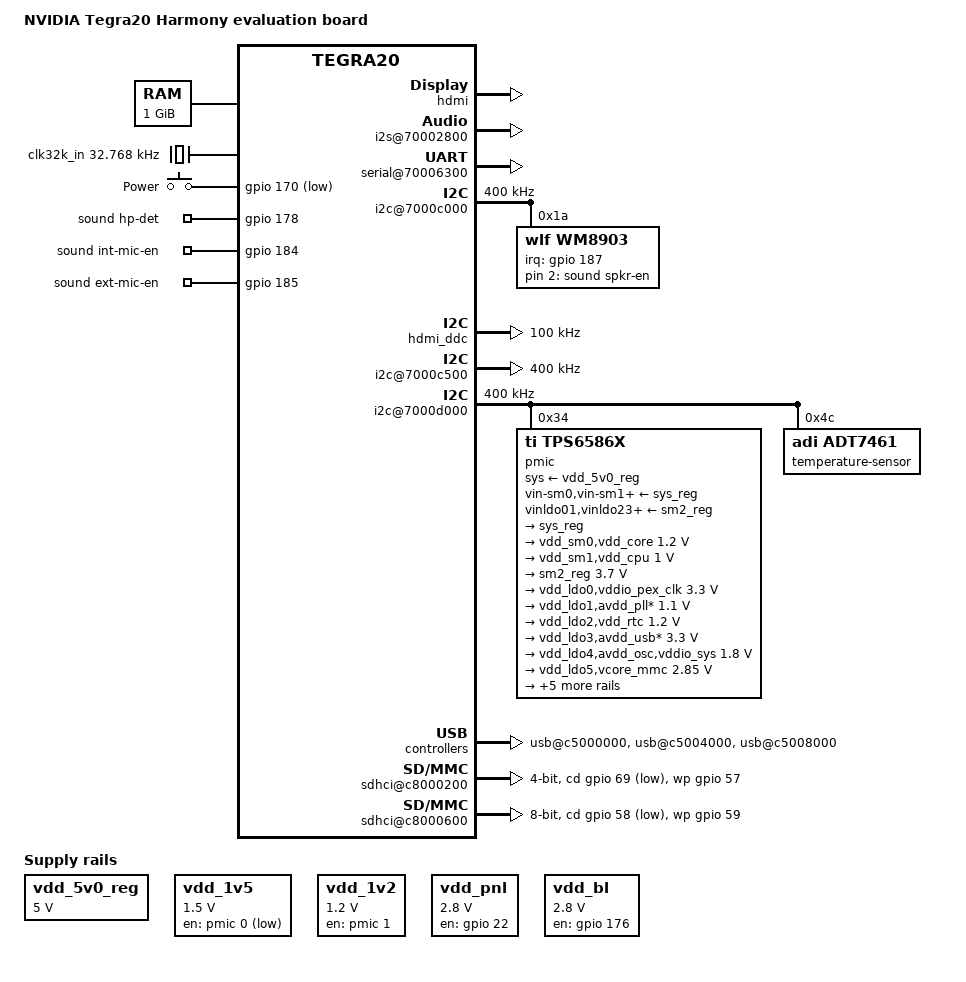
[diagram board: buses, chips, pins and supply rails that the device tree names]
# 1 "arch/arm/boot/dts/tegra20-harmony.dts"
# 1 "<built-in>"
# 1 "<command-line>"
# 1 "arch/arm/boot/dts/tegra20-harmony.dts"
/dts-v1/;

/include/ "tegra20.dtsi"

/ {
 model = "NVIDIA Tegra20 Harmony evaluation board";
 compatible = "nvidia,harmony", "nvidia,tegra20";

 memory {
  reg = <0x00000000 0x40000000>;
 };

 host1x {
  hdmi {
   status = "okay";

   vdd-supply = <&hdmi_vdd_reg>;
   pll-supply = <&hdmi_pll_reg>;

   nvidia,ddc-i2c-bus = <&hdmi_ddc>;
   nvidia,hpd-gpio = <&gpio 111 0>;
  };
 };

 pinmux {
  pinctrl-names = "default";
  pinctrl-0 = <&state_default>;

  state_default: pinmux {
   ata {
    nvidia,pins = "ata";
    nvidia,function = "ide";
   };
   atb {
    nvidia,pins = "atb", "gma", "gme";
    nvidia,function = "sdio4";
   };
   atc {
    nvidia,pins = "atc";
    nvidia,function = "nand";
   };
   atd {
    nvidia,pins = "atd", "ate", "gmb", "gmd", "gpu",
     "spia", "spib", "spic";
    nvidia,function = "gmi";
   };
   cdev1 {
    nvidia,pins = "cdev1";
    nvidia,function = "plla_out";
   };
   cdev2 {
    nvidia,pins = "cdev2";
    nvidia,function = "pllp_out4";
   };
   crtp {
    nvidia,pins = "crtp";
    nvidia,function = "crt";
   };
   csus {
    nvidia,pins = "csus";
    nvidia,function = "vi_sensor_clk";
   };
   dap1 {
    nvidia,pins = "dap1";
    nvidia,function = "dap1";
   };
   dap2 {
    nvidia,pins = "dap2";
    nvidia,function = "dap2";
   };
   dap3 {
    nvidia,pins = "dap3";
    nvidia,function = "dap3";
   };
   dap4 {
    nvidia,pins = "dap4";
    nvidia,function = "dap4";
   };
   ddc {
    nvidia,pins = "ddc";
    nvidia,function = "i2c2";
   };
   dta {
    nvidia,pins = "dta", "dtd";
    nvidia,function = "sdio2";
   };
   dtb {
    nvidia,pins = "dtb", "dtc", "dte";
    nvidia,function = "rsvd1";
   };
   dtf {
    nvidia,pins = "dtf";
    nvidia,function = "i2c3";
   };
   gmc {
    nvidia,pins = "gmc";
    nvidia,function = "uartd";
   };
   gpu7 {
    nvidia,pins = "gpu7";
    nvidia,function = "rtck";
   };
   gpv {
    nvidia,pins = "gpv", "slxa", "slxk";
    nvidia,function = "pcie";
   };
   hdint {
    nvidia,pins = "hdint", "pta";
    nvidia,function = "hdmi";
   };
   i2cp {
    nvidia,pins = "i2cp";
    nvidia,function = "i2cp";
   };
   irrx {
    nvidia,pins = "irrx", "irtx";
    nvidia,function = "uarta";
   };
   kbca {
    nvidia,pins = "kbca", "kbcb", "kbcc", "kbcd",
     "kbce", "kbcf";
    nvidia,function = "kbc";
   };
   lcsn {
    nvidia,pins = "lcsn", "ld0", "ld1", "ld2",
     "ld3", "ld4", "ld5", "ld6", "ld7",
     "ld8", "ld9", "ld10", "ld11", "ld12",
     "ld13", "ld14", "ld15", "ld16", "ld17",
     "ldc", "ldi", "lhp0", "lhp1", "lhp2",
     "lhs", "lm0", "lm1", "lpp", "lpw0",
     "lpw1", "lpw2", "lsc0", "lsc1", "lsck",
     "lsda", "lsdi", "lspi", "lvp0", "lvp1",
     "lvs";
    nvidia,function = "displaya";
   };
   owc {
    nvidia,pins = "owc", "spdi", "spdo", "uac";
    nvidia,function = "rsvd2";
   };
   pmc {
    nvidia,pins = "pmc";
    nvidia,function = "pwr_on";
   };
   rm {
    nvidia,pins = "rm";
    nvidia,function = "i2c1";
   };
   sdb {
    nvidia,pins = "sdb", "sdc", "sdd";
    nvidia,function = "pwm";
   };
   sdio1 {
    nvidia,pins = "sdio1";
    nvidia,function = "sdio1";
   };
   slxc {
    nvidia,pins = "slxc", "slxd";
    nvidia,function = "spdif";
   };
   spid {
    nvidia,pins = "spid", "spie", "spif";
    nvidia,function = "spi1";
   };
   spig {
    nvidia,pins = "spig", "spih";
    nvidia,function = "spi2_alt";
   };
   uaa {
    nvidia,pins = "uaa", "uab", "uda";
    nvidia,function = "ulpi";
   };
   uad {
    nvidia,pins = "uad";
    nvidia,function = "irda";
   };
   uca {
    nvidia,pins = "uca", "ucb";
    nvidia,function = "uartc";
   };
   conf_ata {
    nvidia,pins = "ata", "atb", "atc", "atd", "ate",
     "cdev1", "cdev2", "dap1", "dtb", "gma",
     "gmb", "gmc", "gmd", "gme", "gpu7",
     "gpv", "i2cp", "pta", "rm", "slxa",
     "slxk", "spia", "spib", "uac";
    nvidia,pull = <0>;
    nvidia,tristate = <0>;
   };
   conf_ck32 {
    nvidia,pins = "ck32", "ddrc", "pmca", "pmcb",
     "pmcc", "pmcd", "pmce", "xm2c", "xm2d";
    nvidia,pull = <0>;
   };
   conf_csus {
    nvidia,pins = "csus", "spid", "spif";
    nvidia,pull = <1>;
    nvidia,tristate = <1>;
   };
   conf_crtp {
    nvidia,pins = "crtp", "dap2", "dap3", "dap4",
     "dtc", "dte", "dtf", "gpu", "sdio1",
     "slxc", "slxd", "spdi", "spdo", "spig",
     "uda";
    nvidia,pull = <0>;
    nvidia,tristate = <1>;
   };
   conf_ddc {
    nvidia,pins = "ddc", "dta", "dtd", "kbca",
     "kbcb", "kbcc", "kbcd", "kbce", "kbcf",
     "sdc";
    nvidia,pull = <2>;
    nvidia,tristate = <0>;
   };
   conf_hdint {
    nvidia,pins = "hdint", "lcsn", "ldc", "lm1",
     "lpw1", "lsc1", "lsck", "lsda", "lsdi",
     "lvp0", "owc", "sdb";
    nvidia,tristate = <1>;
   };
   conf_irrx {
    nvidia,pins = "irrx", "irtx", "sdd", "spic",
     "spie", "spih", "uaa", "uab", "uad",
     "uca", "ucb";
    nvidia,pull = <2>;
    nvidia,tristate = <1>;
   };
   conf_lc {
    nvidia,pins = "lc", "ls";
    nvidia,pull = <2>;
   };
   conf_ld0 {
    nvidia,pins = "ld0", "ld1", "ld2", "ld3", "ld4",
     "ld5", "ld6", "ld7", "ld8", "ld9",
     "ld10", "ld11", "ld12", "ld13", "ld14",
     "ld15", "ld16", "ld17", "ldi", "lhp0",
     "lhp1", "lhp2", "lhs", "lm0", "lpp",
     "lpw0", "lpw2", "lsc0", "lspi", "lvp1",
     "lvs", "pmc";
    nvidia,tristate = <0>;
   };
   conf_ld17_0 {
    nvidia,pins = "ld17_0", "ld19_18", "ld21_20",
     "ld23_22";
    nvidia,pull = <1>;
   };
  };
 };

 i2s@70002800 {
  status = "okay";
 };

 serial@70006300 {
  status = "okay";
 };

 i2c@7000c000 {
  status = "okay";
  clock-frequency = <400000>;

  wm8903: wm8903@1a {
   compatible = "wlf,wm8903";
   reg = <0x1a>;
   interrupt-parent = <&gpio>;
   interrupts = <187 0x04>;

   gpio-controller;
   #gpio-cells = <2>;

   micdet-cfg = <0>;
   micdet-delay = <100>;
   gpio-cfg = <0xffffffff 0xffffffff 0 0xffffffff 0xffffffff>;
  };
 };

 hdmi_ddc: i2c@7000c400 {
  status = "okay";
  clock-frequency = <100000>;
 };

 i2c@7000c500 {
  status = "okay";
  clock-frequency = <400000>;
 };

 i2c@7000d000 {
  status = "okay";
  clock-frequency = <400000>;

  pmic: tps6586x@34 {
   compatible = "ti,tps6586x";
   reg = <0x34>;
   interrupts = <0 86 0x4>;

   ti,system-power-controller;

   #gpio-cells = <2>;
   gpio-controller;

   sys-supply = <&vdd_5v0_reg>;
   vin-sm0-supply = <&sys_reg>;
   vin-sm1-supply = <&sys_reg>;
   vin-sm2-supply = <&sys_reg>;
   vinldo01-supply = <&sm2_reg>;
   vinldo23-supply = <&sm2_reg>;
   vinldo4-supply = <&sm2_reg>;
   vinldo678-supply = <&sm2_reg>;
   vinldo9-supply = <&sm2_reg>;

   regulators {
    sys_reg: sys {
     regulator-name = "vdd_sys";
     regulator-always-on;
    };

    sm0 {
     regulator-name = "vdd_sm0,vdd_core";
     regulator-min-microvolt = <1200000>;
     regulator-max-microvolt = <1200000>;
     regulator-always-on;
    };

    sm1 {
     regulator-name = "vdd_sm1,vdd_cpu";
     regulator-min-microvolt = <1000000>;
     regulator-max-microvolt = <1000000>;
     regulator-always-on;
    };

    sm2_reg: sm2 {
     regulator-name = "vdd_sm2,vin_ldo*";
     regulator-min-microvolt = <3700000>;
     regulator-max-microvolt = <3700000>;
     regulator-always-on;
    };

    ldo0 {
     regulator-name = "vdd_ldo0,vddio_pex_clk";
     regulator-min-microvolt = <3300000>;
     regulator-max-microvolt = <3300000>;
    };

    ldo1 {
     regulator-name = "vdd_ldo1,avdd_pll*";
     regulator-min-microvolt = <1100000>;
     regulator-max-microvolt = <1100000>;
     regulator-always-on;
    };

    ldo2 {
     regulator-name = "vdd_ldo2,vdd_rtc";
     regulator-min-microvolt = <1200000>;
     regulator-max-microvolt = <1200000>;
    };

    ldo3 {
     regulator-name = "vdd_ldo3,avdd_usb*";
     regulator-min-microvolt = <3300000>;
     regulator-max-microvolt = <3300000>;
     regulator-always-on;
    };

    ldo4 {
     regulator-name = "vdd_ldo4,avdd_osc,vddio_sys";
     regulator-min-microvolt = <1800000>;
     regulator-max-microvolt = <1800000>;
     regulator-always-on;
    };

    ldo5 {
     regulator-name = "vdd_ldo5,vcore_mmc";
     regulator-min-microvolt = <2850000>;
     regulator-max-microvolt = <2850000>;
     regulator-always-on;
    };

    ldo6 {
     regulator-name = "vdd_ldo6,avdd_vdac";
     regulator-min-microvolt = <1800000>;
     regulator-max-microvolt = <1800000>;
    };

    hdmi_vdd_reg: ldo7 {
     regulator-name = "vdd_ldo7,avdd_hdmi";
     regulator-min-microvolt = <3300000>;
     regulator-max-microvolt = <3300000>;
    };

    hdmi_pll_reg: ldo8 {
     regulator-name = "vdd_ldo8,avdd_hdmi_pll";
     regulator-min-microvolt = <1800000>;
     regulator-max-microvolt = <1800000>;
    };

    ldo9 {
     regulator-name = "vdd_ldo9,avdd_2v85,vdd_ddr_rx";
     regulator-min-microvolt = <2850000>;
     regulator-max-microvolt = <2850000>;
     regulator-always-on;
    };

    ldo_rtc {
     regulator-name = "vdd_rtc_out,vdd_cell";
     regulator-min-microvolt = <3300000>;
     regulator-max-microvolt = <3300000>;
     regulator-always-on;
    };
   };
  };

  temperature-sensor@4c {
   compatible = "adi,adt7461";
   reg = <0x4c>;
  };
 };

 pmc {
  nvidia,invert-interrupt;
  nvidia,suspend-mode = <2>;
  nvidia,cpu-pwr-good-time = <5000>;
  nvidia,cpu-pwr-off-time = <5000>;
  nvidia,core-pwr-good-time = <3845 3845>;
  nvidia,core-pwr-off-time = <3875>;
  nvidia,sys-clock-req-active-high;
 };

 usb@c5000000 {
  status = "okay";
 };

 usb@c5004000 {
  status = "okay";
  nvidia,phy-reset-gpio = <&gpio 169 0>;
 };

 usb@c5008000 {
  status = "okay";
 };

 usb-phy@c5004400 {
  nvidia,phy-reset-gpio = <&gpio 169 0>;
 };

 sdhci@c8000200 {
  status = "okay";
  cd-gpios = <&gpio 69 1>;
  wp-gpios = <&gpio 57 0>;
  power-gpios = <&gpio 155 0>;
  bus-width = <4>;
 };

 sdhci@c8000600 {
  status = "okay";
  cd-gpios = <&gpio 58 1>;
  wp-gpios = <&gpio 59 0>;
  power-gpios = <&gpio 70 0>;
  bus-width = <8>;
 };

 clocks {
  compatible = "simple-bus";
  #address-cells = <1>;
  #size-cells = <0>;

  clk32k_in: clock {
   compatible = "fixed-clock";
   reg=<0>;
   #clock-cells = <0>;
   clock-frequency = <32768>;
  };
 };

 gpio-keys {
  compatible = "gpio-keys";

  power {
   label = "Power";
   gpios = <&gpio 170 1>;
   linux,code = <116>;
   gpio-key,wakeup;
  };
 };

 kbc {
  status = "okay";
  nvidia,debounce-delay-ms = <2>;
  nvidia,repeat-delay-ms = <160>;
  nvidia,kbc-row-pins = <0 1 2 3 4 5 6 7 8 9 10 11 12 13 14 15>;
  nvidia,kbc-col-pins = <16 17 18 19 20 21 22 23>;
  linux,keymap = <0x00020011
    0x0003001F
    0x0004001E
    0x0005002C
    0x000701D0
    0x0107008B
    0x02060038
    0x02070064
    0x03000006
    0x03010005
    0x03020013
    0x03030012
    0x03040021
    0x03050020
    0x0306002D
    0x04000008
    0x04010007
    0x04020014
    0x04030023
    0x04040022
    0x0405002F
    0x0406002E
    0x04070039
    0x0500000A
    0x05010009
    0x05020016
    0x05030015
    0x05040024
    0x05050031
    0x05060030
    0x0507002B
    0x0600000C
    0x0601000B
    0x06020018
    0x06030017
    0x06040026
    0x06050025
    0x06060033
    0x06070032
    0x0701000D
    0x0702001B
    0x0703001C
    0x0707008B
    0x0804002A
    0x08050036
    0x0905001D
    0x09070061
    0x0B00001A
    0x0B010019
    0x0B020028
    0x0B030027
    0x0B040035
    0x0B050034
    0x0C000044
    0x0C010043
    0x0C02000E
    0x0C030004
    0x0C040003
    0x0C050067
    0x0C0600D2
    0x0C070077
    0x0D00006E
    0x0D01006F
    0x0D030068
    0x0D04006D
    0x0D05006A
    0x0D06006C
    0x0D070069
    0x0E000057
    0x0E010058
    0x0E020042
    0x0E030010
    0x0E04003E
    0x0E05003D
    0x0E060002
    0x0E070041
    0x0F000001
    0x0F010029
    0x0F02003F
    0x0F03000F
    0x0F04003B
    0x0F05003C
    0x0F06003A
    0x0F070040
    0x14000047
    0x15000049
    0x15010048
    0x1502004B
    0x1504004F
    0x1601004E
    0x1602004D
    0x1603004C
    0x16040051
    0x16050050
    0x16070052
    0x1B010037
    0x1B03004A
    0x1B04004E
    0x1B050053
    0x1C050073
    0x1D030066
    0x1D04006B
    0x1D0500E1
    0x1D060072
    0x1D0700E0
    0x1E000045
    0x1E010046
    0x1E020071
    0x1F0400D6>;
 };

 regulators {
  compatible = "simple-bus";
  #address-cells = <1>;
  #size-cells = <0>;

  vdd_5v0_reg: regulator@0 {
   compatible = "regulator-fixed";
   reg = <0>;
   regulator-name = "vdd_5v0";
   regulator-min-microvolt = <5000000>;
   regulator-max-microvolt = <5000000>;
   regulator-always-on;
  };

  regulator@1 {
   compatible = "regulator-fixed";
   reg = <1>;
   regulator-name = "vdd_1v5";
   regulator-min-microvolt = <1500000>;
   regulator-max-microvolt = <1500000>;
   gpio = <&pmic 0 0>;
  };

  regulator@2 {
   compatible = "regulator-fixed";
   reg = <2>;
   regulator-name = "vdd_1v2";
   regulator-min-microvolt = <1200000>;
   regulator-max-microvolt = <1200000>;
   gpio = <&pmic 1 0>;
   enable-active-high;
  };

  regulator@3 {
   compatible = "regulator-fixed";
   reg = <3>;
   regulator-name = "vdd_1v05";
   regulator-min-microvolt = <1050000>;
   regulator-max-microvolt = <1050000>;
   gpio = <&pmic 2 0>;
   enable-active-high;

   status = "disabled";
  };

  regulator@4 {
   compatible = "regulator-fixed";
   reg = <4>;
   regulator-name = "vdd_pnl";
   regulator-min-microvolt = <2800000>;
   regulator-max-microvolt = <2800000>;
   gpio = <&gpio 22 0>;
   enable-active-high;
  };

  regulator@5 {
   compatible = "regulator-fixed";
   reg = <5>;
   regulator-name = "vdd_bl";
   regulator-min-microvolt = <2800000>;
   regulator-max-microvolt = <2800000>;
   gpio = <&gpio 176 0>;
   enable-active-high;
  };
 };

 sound {
  compatible = "nvidia,tegra-audio-wm8903-harmony",
        "nvidia,tegra-audio-wm8903";
  nvidia,model = "NVIDIA Tegra Harmony";

  nvidia,audio-routing =
   "Headphone Jack", "HPOUTR",
   "Headphone Jack", "HPOUTL",
   "Int Spk", "ROP",
   "Int Spk", "RON",
   "Int Spk", "LOP",
   "Int Spk", "LON",
   "Mic Jack", "MICBIAS",
   "IN1L", "Mic Jack";

  nvidia,i2s-controller = <&tegra_i2s1>;
  nvidia,audio-codec = <&wm8903>;

  nvidia,spkr-en-gpios = <&wm8903 2 0>;
  nvidia,hp-det-gpios = <&gpio 178 0>;
  nvidia,int-mic-en-gpios = <&gpio 184 0>;
  nvidia,ext-mic-en-gpios = <&gpio 185 0>;

  clocks = <&tegra_car 112>, <&tegra_car 113>, <&tegra_car 94>;
  clock-names = "pll_a", "pll_a_out0", "mclk";
 };
};
